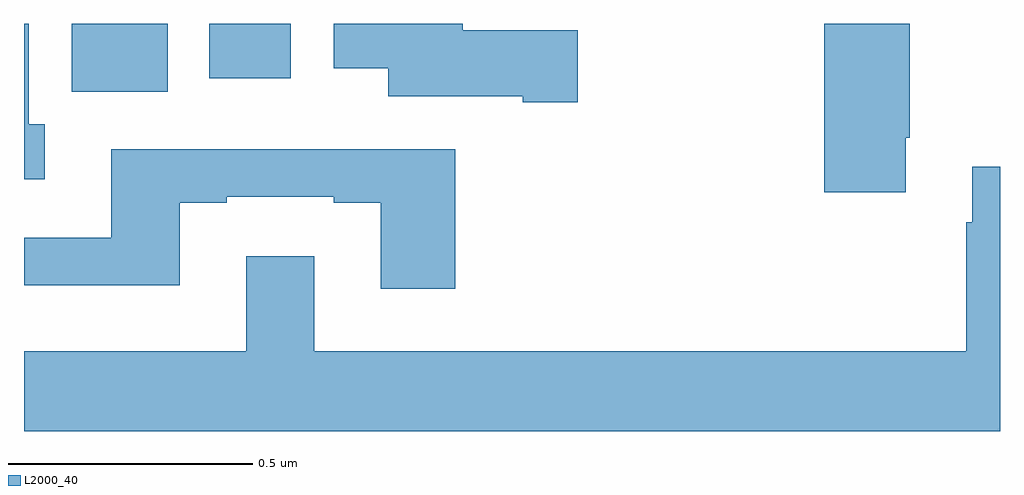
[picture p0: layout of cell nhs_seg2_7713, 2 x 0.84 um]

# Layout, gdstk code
import gdstk
lib = gdstk.Library(unit=1e-6, precision=1e-09)
def R(c, l, rs):  # rectangles x0, y0, x1, y1
    for r in rs: c.add(gdstk.rectangle(r[:2], r[2:], *l))
def P(c, l, *ps):  # polygons
    for p in ps: c.add(gdstk.Polygon(p, *l))
L2000_40 = (2000, 40)

nhs_seg2_7713 = lib.new_cell('nhs_seg2_7713')
R(nhs_seg2_7713, L2000_40, [(207.098,653.66,207.295,653.8), (207.38,653.688,207.547,653.8)])
P(nhs_seg2_7713, L2000_40, [(207.043,653.594),(207.01,653.594),(207.01,653.8),(207,653.8),(207,653.481),(207.043,653.481)],
  [(208.135,653.786),(207.899,653.786),(207.899,653.8),(207.635,653.8),(207.635,653.708),(207.746,653.708),(207.746,653.651),(208.022,653.651),(208.022,653.639),(208.135,653.639)],
  [(208.807,653.566),(208.815,653.566),(208.815,653.8),(208.64,653.8),(208.64,653.454),(208.807,653.454)],
  [(207.884,653.542),(207.179,653.542),(207.179,653.361),(207,653.361),(207,653.264),(207.319,653.264),(207.319,653.433),(207.415,653.433),(207.415,653.445),(207.635,653.445),(207.635,653.433),(207.731,653.433),(207.731,653.256),(207.884,653.256)],
  [(209,653.506),(208.943,653.506),(208.943,653.393),(208.931,653.393),(208.931,653.128),(207.595,653.128),(207.595,653.323),(207.455,653.323),(207.455,653.128),(207,653.128),(207,652.964),(209,652.964)])

lib.write_gds('nhs_seg2_7713.gds')
